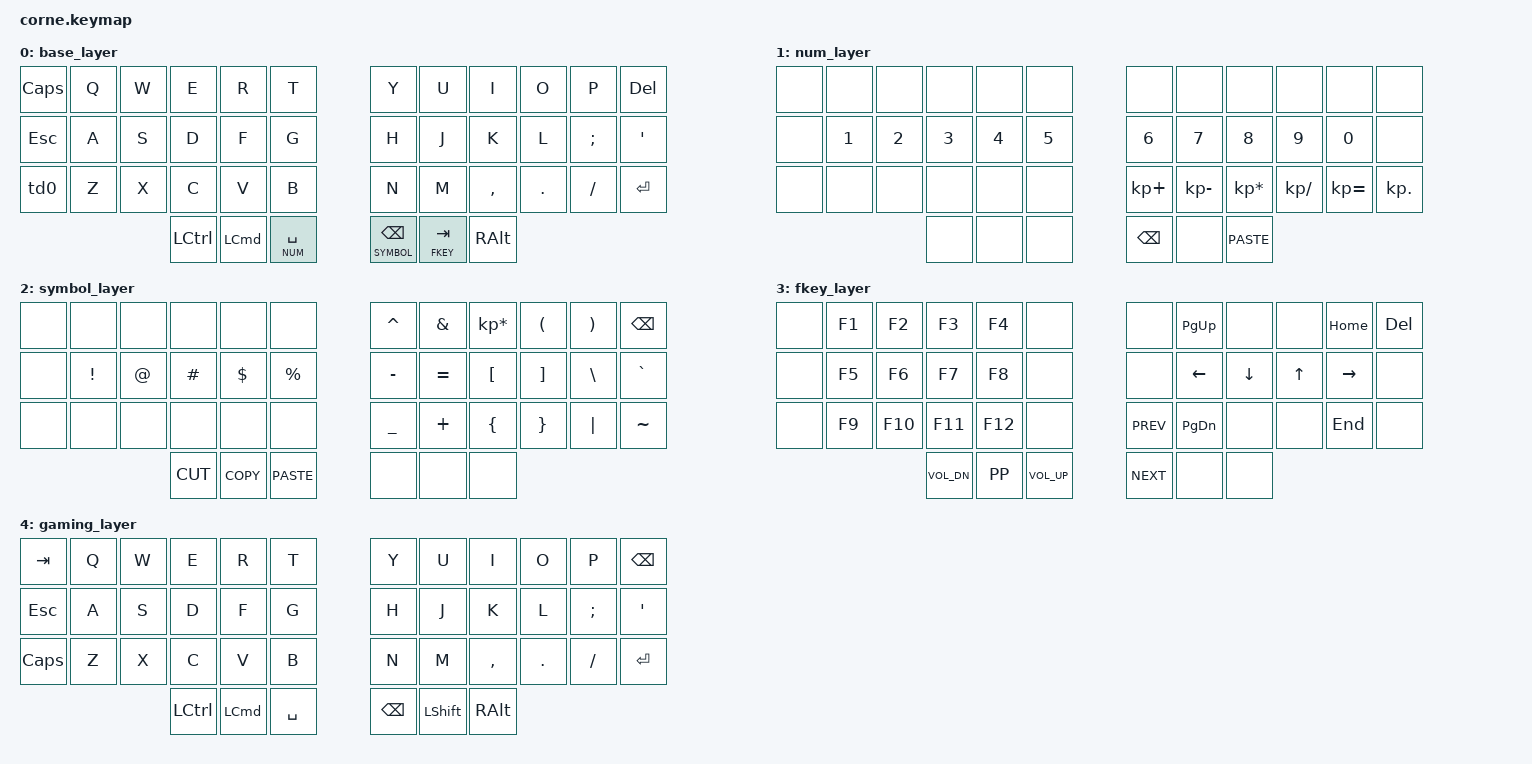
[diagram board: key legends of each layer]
/*
 * Copyright (c) 2020 The ZMK Contributors
 *
 * SPDX-License-Identifier: MIT
 */

#include <behaviors.dtsi>
#include <dt-bindings/zmk/keys.h>
#include <dt-bindings/zmk/bt.h>

#define BASE   0
#define NUM    1
#define SYMBOL 2
#define FKEY   3
#define GAMING 4

/ {
    behaviors {
        // Tap or hold left shift for shift, tap for caps lock
        td0: tap_dance_shift_lock {
            compatible = "zmk,behavior-tap-dance";
            label = "TAP_DANCE_0";
            #binding-cells = <0>;
            tapping-term-ms = <200>;
            bindings = <&kp LSHFT>, <&kp CAPSLOCK>;
        };
    };
    
    combos {
        compatible = "zmk,combos";

        // J + K = ESC
        combo_jk_esc {
            timeout-ms = <50>;
            layers = <0>;
            key-positions = <19 20>;
            bindings = <&kp ESC>;
        };

        // In base layer, press east bottom 3 keys to switch to gaming
        combo_switch_to_gaming {
            timeout-ms = <50>;
            layers = <0>;
            key-positions = <39 40 41>;
            bindings = <&to 4>;
        };

        // In gaming layer, press east bottom 3 keys to switch to base
        combo_switch_to_base {
            timeout-ms = <50>;
            layers = <4>;
            key-positions = <39 40 41>;
            bindings = <&to 0>;
        };
    };

    keymap {
        compatible = "zmk,keymap";

        base_layer {
// -----------------------------------------------------------------------------------------
//      | CAPS |  Q  |  W  |  E  |  R  |  T  |     |  Y  |  U   |  I  |  O  |  P  | DEL  |
//      | ESC  |  A  |  S  |  D  |  F  |  G  |     |  H  |  J   |  K  |  L  |  ;  |  '   |
// | SHFT/CAPS |  Z  |  X  |  C  |  V  |  B  |     |  N  |  M   |  ,  |  .  |  /  | ENTR |
//                      | CTRL | CMD | SPACE |     | BSPC | SHFT | ALT |
        bindings = <
   &kp CAPS &kp Q &kp W &kp E &kp R &kp T &kp Y     &kp U &kp I     &kp O   &kp P    &kp DEL
   &kp ESC  &kp A &kp S &kp D &kp F &kp G &kp H     &kp J &kp K     &kp L   &kp SEMI &kp SQT
   &td0     &kp Z &kp X &kp C &kp V &kp B &kp N     &kp M &kp COMMA &kp DOT &kp FSLH &kp RET
               &kp LCTRL &kp LCMD &lt NUM SPACE      &lt SYMBOL BSPC &lt FKEY TAB &kp RALT
            >;
        };

        num_layer {
// -----------------------------------------------------------------------------------------
// |   |   |   |   |   |   |    |   |   |   |   |   |   |
// |   | 1 | 2 | 3 | 4 | 5 |    | 6 | 7 | 8 | 9 | 0 |   |
// |   |   |   |   |   |   |    | + | - | * | / | = | . |
//           |   | MOD |   |    | BSPC |   |   |
            bindings = <
   &none &none  &none  &none  &none  &none     &none       &none        &none           &none         &none        &none
   &none &kp N1 &kp N2 &kp N3 &kp N4 &kp N5    &kp N6      &kp N7       &kp N8          &kp N9        &kp N0       &none
   &none &none  &none  &none  &none  &none     &kp KP_PLUS &kp KP_MINUS &kp KP_MULTIPLY &kp KP_DIVIDE &kp KP_EQUAL &kp KP_DOT
                          &none &none &none    &kp BSPC &none &kp K_PASTE
            >;
        };

        symbol_layer {
// -----------------------------------------------------------------------------------------
// |   |   |   |   |   |   |     |  ^  | & | * | ( | ) |   |
// |   | ! | @ | # | $ | % |     |  -  | = | [ | ] | \ | ` |
// |   |   |   |   |   |   |     |  _  | + | { | } | "|" | ~ |
//    | CUT | COPY | PASTE |     | MOD |   |   |
            bindings = <
   &none &none    &none  &none    &none    &none        &kp CARET &kp AMPS  &kp KP_ASTERISK &kp LPAR &kp RPAR &kp BSPC
   &none &kp EXCL &kp AT &kp HASH &kp DLLR &kp PRCNT    &kp MINUS &kp EQUAL &kp LBKT        &kp RBKT &kp BSLH &kp GRAVE
   &none &none    &none  &none    &none    &none        &kp UNDER &kp PLUS  &kp LBRC        &kp RBRC &kp PIPE &kp TILDE
                    &kp K_CUT &kp K_COPY &kp K_PASTE    &none &none &none
            >;
        };

        fkey_layer {
// -----------------------------------------------------------------------------------------
// |   | F1 | F2  | F3  | F4  |   |     |      | Pg Up  |   |   | Home | Del |
// |   | F5 | F6  | F7  | F8  |   |     |      |   ←    | ↓ | ↑ |  →   |   |
// |   | F9 | F10 | F11 | F12 |   |     | PREV | Pg Dwn |   |   | End  |   |
//             | VOL- | PP | VOL+ |     | NEXT |  MOD   |   |
            bindings = <
   &none &kp F1 &kp F2  &kp F3  &kp F4  &none    &none &kp PG_UP &none    &none  &kp HOME  &kp DEL
   &none &kp F5 &kp F6  &kp F7  &kp F8  &none    &none &kp LEFT  &kp DOWN &kp UP &kp RIGHT &none
   &none &kp F9 &kp F10 &kp F11 &kp F12 &none    &kp K_PREV &kp PG_DN &none    &none  &kp END   &none
           &kp K_VOL_DN &kp K_PP &kp K_VOL_UP    &kp K_NEXT &none &none
            >;
        };

        gaming_layer {
// -----------------------------------------------------------------------------------------
// | TAB  |  Q  |  W  |  E  |  R  |  T  |     |  Y  |  U   |  I  |  O  |  P  | BKSP |
// | ESC  |  A  |  S  |  D  |  F  |  G  |     |  H  |  J   |  K  |  L  |  ;  |  '   |
// | CAPS |  Z  |  X  |  C  |  V  |  B  |     |  N  |  M   |  ,  |  .  |  /  | ENTR |
//                 | CTRL | CMD | SPACE |    | BSPC | SHFT | ALT |
            bindings = <
   &kp TAB  &kp Q &kp W &kp E &kp R &kp T &kp Y     &kp U &kp I     &kp O   &kp P    &kp BSPC
   &kp ESC  &kp A &kp S &kp D &kp F &kp G &kp H     &kp J &kp K     &kp L   &kp SEMI &kp SQT
   &kp CAPS &kp Z &kp X &kp C &kp V &kp B &kp N     &kp M &kp COMMA &kp DOT &kp FSLH &kp RET
                   &kp LCTRL &kp LCMD &kp SPACE     &kp BSPC &kp LSHFT &kp RALT
            >;
        };
    };
};
